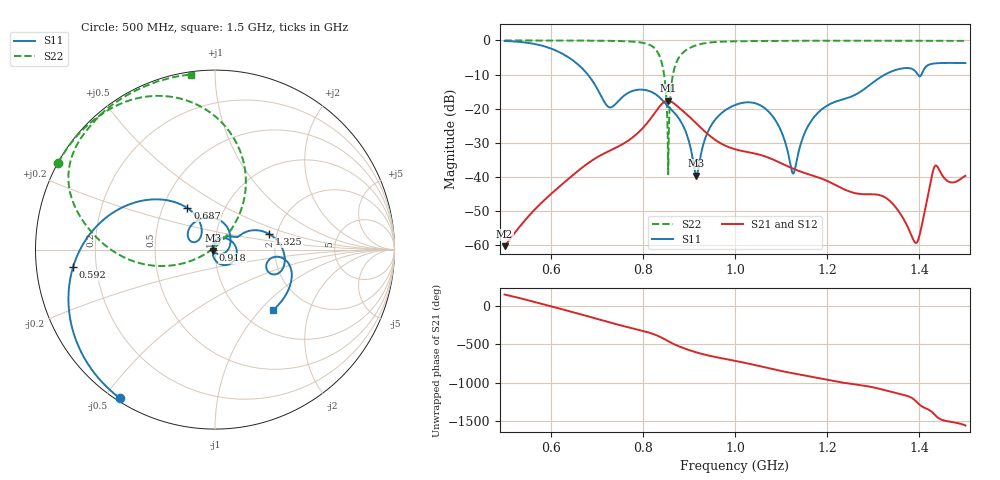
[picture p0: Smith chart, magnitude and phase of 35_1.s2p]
! TOUCHSTONE file generated by CST MICROWAVE STUDIO
! Date and time: Fri Oct  2 17:15:22 2020
! Project name: Scenario_1_Free_Space_out_of_line.cst
! Parameters = {Lambda=346.42; Step_1=17.321; dy1=-241.954; dx1=173; L_HA=400; MT=2.54; Rad_Dielectric=30; Rad_Lower=7.3; Rad_Upper=30; a_HA=580; a_WG=246; b_HA=500; b_WG=121; c_HA=0; c_WG=187; d_feed=85; h_feed=15; h_lower=18; h_upper=40}
! Header version: 2018
! Port assignment regex: !\s*Touchstone port\s*([0-9]+)\s*=\s*(CST MWS port|CST DS port)\s*([0-9]+|Zmin|Zmax)\s*\(\"(.*)\"\)(\s*mode\s*([0-9]+))?.*
! Touchstone port assignment:
! Touchstone port 1 = CST MWS port 1 ("")
! Touchstone port 2 = CST MWS port 2 ("")
# GHz S DB R 50
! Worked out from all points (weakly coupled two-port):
!   1003 points, 500 MHz to 1.5 GHz, reference 50 ohm
!   highest |S21| = -17.64 dB at 854 MHz (marker M1); lowest = -60.2 dB at 500 MHz (marker M2)
!   lowest |S11| = -39.6 dB at 916 MHz (marker M3), VSWR 1.02, Z = 49.1 - j0.527 ohm
!   |S11| at or under -10 dB: 680.6 MHz to 1.325 GHz (644.8 MHz wide, 64.3 % of centre); 1.397 GHz to 1.404 GHz (7.757 MHz wide, 0.554 % of centre)
!   |S22| runs from -39.2 to 0.0 dB; largest |S21 - S12| = 9.6e-05
!   S11 on the Smith chart (normalised r, x): 500 MHz: 0.01, -0.55; 592 MHz: 0.11, -0.06; 687 MHz: 0.67, +0.33; 918 MHz: 0.98, -0.00; 1.325 GHz: 1.83, +0.35; 1.5 GHz: 1.36, -1.18
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0.5  -0.15 -122.7  -60.21 147.8  -60.21 147.8  -0.01 151.1
0.592  -1.98 -173.0  -46.01 7.9  -46.01 7.9  -0.02 144.7
0.667  -7.99 135.8  -37.35 -113.1  -37.35 -113.1  -0.04 138.3
0.687  -11.13 123.6  -35.38 -147.4  -35.38 -147.4  -0.06 136.2
0.728  -19.59 143.2  -32.28 143.2  -32.28 143.2  -0.12 131.1
0.792  -14.40 128.9  -26.73 46.9  -26.73 46.9  -0.52 115.8
0.834  -16.39 68.6  -19.73 -34.8  -19.73 -34.8  -3.91 81.0
0.845  -17.87 51.5  -18.12 -67.5  -18.12 -67.5  -9.13 61.5
0.854  -19.18 38.6  -17.64 -97.4  -17.64 -97.4  -28.23 56.6
0.873  -21.90 8.7  -19.02 -154.3  -19.02 -154.3  -6.39 -173.2
0.916  -39.60 -149.2  -24.27 113.9  -24.27 113.9  -1.41 160.1
0.918  -39.11 -173.0  -24.54 110.4  -24.54 110.4  -1.32 159.3
0.947  -25.18 81.5  -28.10 66.5  -28.10 66.5  -0.58 150.2
1  -18.91 12.9  -31.85 3.3  -31.85 3.3  -0.25 140.2
1.077  -21.43 -71.3  -34.54 -98.4  -34.54 -98.4  -0.15 131.8
1.126  -38.98 170.1  -37.52 -159.5  -37.52 -159.5  -0.10 127.5
1.167  -23.26 62.5  -39.48 154.1  -39.48 154.1  -0.09 124.1
1.325  -10.03 15.9  -45.88 -18.8  -45.88 -18.8  -0.09 112.1
1.334  -9.42 11.1  -46.74 -32.9  -46.74 -32.9  -0.09 111.4
1.393  -9.29 -23.4  -59.28 -165.3  -59.28 -165.3  -0.10 106.8
1.434  -6.72 -23.8  -36.75 17.8  -36.72 18.1  -0.11 103.5
1.5  -6.61 -46.6  -39.62 -119.4  -39.60 -119.4  -0.14 97.8
